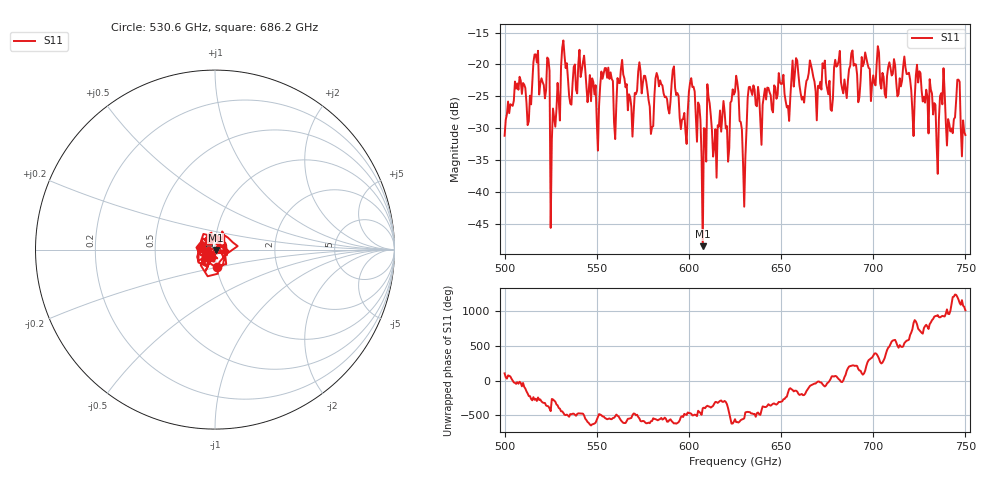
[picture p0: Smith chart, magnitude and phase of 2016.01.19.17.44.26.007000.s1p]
!Created with skrf (http://scikit-rf.org).
# GHz S RI R 50.0
!freq ReS11 ImS11
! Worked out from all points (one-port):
!   401 points, 500 GHz to 750 GHz, reference 50 ohm
!   lowest |S11| = -48.5 dB at 607.5 GHz (marker M1), VSWR 1.01, Z = 50.3 - j0.235 ohm
!   |S11| at or under -10 dB: start of sweep to end of sweep
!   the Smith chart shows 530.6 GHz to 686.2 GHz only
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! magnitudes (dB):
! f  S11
! 500 GHz  -31.2
! 506.9 GHz  -23.0
! 513.1 GHz  -28.9
! 516.9 GHz  -18.4
! 523.1 GHz  -18.9
! 526.2 GHz  -26.9
! 531.2 GHz  -17.4
! 550 GHz  -28.9
! 562.5 GHz  -22.9
! 576.2 GHz  -21.8
! 579.4 GHz  -30.9
! 583.1 GHz  -22.0
! 593.8 GHz  -24.5
! 597.5 GHz  -27.6
! 601.9 GHz  -23.5
! 607.5 GHz  -48.5
! 611.2 GHz  -26.1
! 613.8 GHz  -32.9
! 625 GHz  -24.3
! 630 GHz  -42.3
! 633.8 GHz  -24.1
! 656.2 GHz  -19.4
! 676.9 GHz  -27.0
! 687.5 GHz  -20.2
! 718.8 GHz  -21.5
! 734.4 GHz  -32.5
! 745.6 GHz  -22.4
! 750 GHz  -31.1
